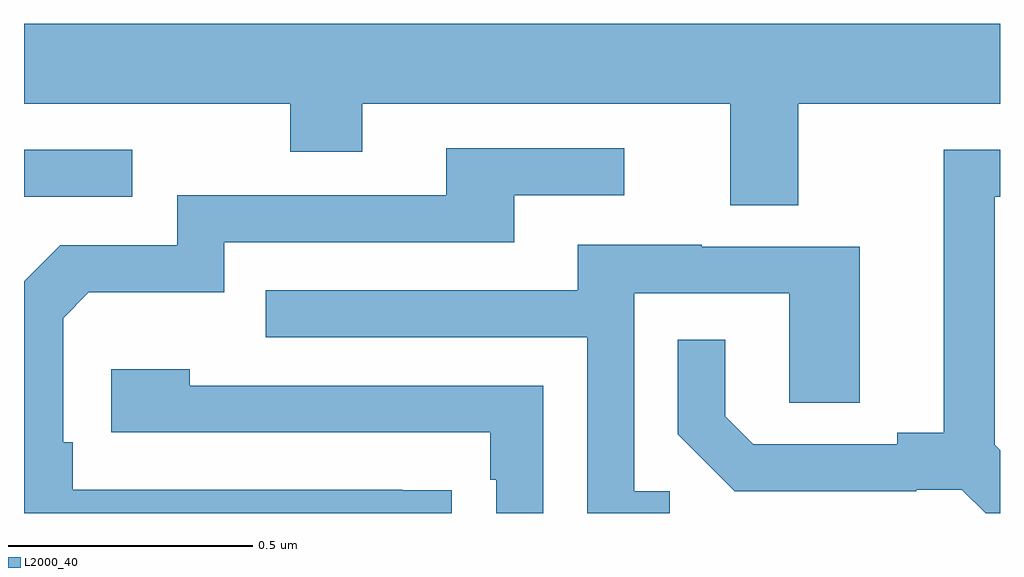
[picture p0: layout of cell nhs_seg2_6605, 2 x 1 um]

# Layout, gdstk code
import gdstk
lib = gdstk.Library(unit=1e-6, precision=1e-09)
def R(c, l, rs):  # rectangles x0, y0, x1, y1
    for r in rs: c.add(gdstk.rectangle(r[:2], r[2:], *l))
def P(c, l, *ps):  # polygons
    for p in ps: c.add(gdstk.Polygon(p, *l))
L2000_40 = (2000, 40)

nhs_seg2_6605 = lib.new_cell('nhs_seg2_6605')
R(nhs_seg2_6605, L2000_40, [(193,643.449,193.222,643.545)])
P(nhs_seg2_6605, L2000_40, [(194.587,643.64),(195,643.64),(195,643.804),(193,643.804),(193,643.64),(193.546,643.64),(193.546,643.541),(193.693,643.541),(193.693,643.64),(194.447,643.64),(194.447,643.432),(194.587,643.432)],
  [(193.877,642.848),(193.775,642.848),(193.775,642.849),(193.1,642.849),(193.1,642.946),(193.08,642.946),(193.08,643.2),(193.133,643.253),(193.41,643.253),(193.41,643.356),(194.005,643.356),(194.005,643.452),(194.23,643.452),(194.23,643.548),(193.865,643.548),(193.865,643.452),(193.314,643.452),(193.314,643.35),(193.074,643.35),(193,643.276),(193,642.8),(193.877,642.8)],
  [(195,642.93),(194.989,642.941),(194.989,643.449),(195,643.449),(195,643.545),(194.885,643.545),(194.885,642.965),(194.789,642.965),(194.789,642.942),(194.494,642.942),(194.437,642.999),(194.437,643.156),(194.34,643.156),(194.34,642.962),(194.456,642.846),(194.828,642.846),(194.828,642.849),(194.922,642.849),(194.971,642.8),(195,642.8)],
  [(194.323,642.846),(194.25,642.846),(194.25,643.251),(194.568,643.251),(194.568,643.027),(194.713,643.027),(194.713,643.347),(194.389,643.347),(194.389,643.351),(194.135,643.351),(194.135,643.257),(193.495,643.257),(193.495,643.161),(194.154,643.161),(194.154,642.8),(194.323,642.8)],
  [(194.064,643.062),(193.34,643.062),(193.34,643.096),(193.179,643.096),(193.179,642.966),(193.955,642.966),(193.955,642.869),(193.968,642.869),(193.968,642.8),(194.064,642.8)])

lib.write_gds('nhs_seg2_6605.gds')
